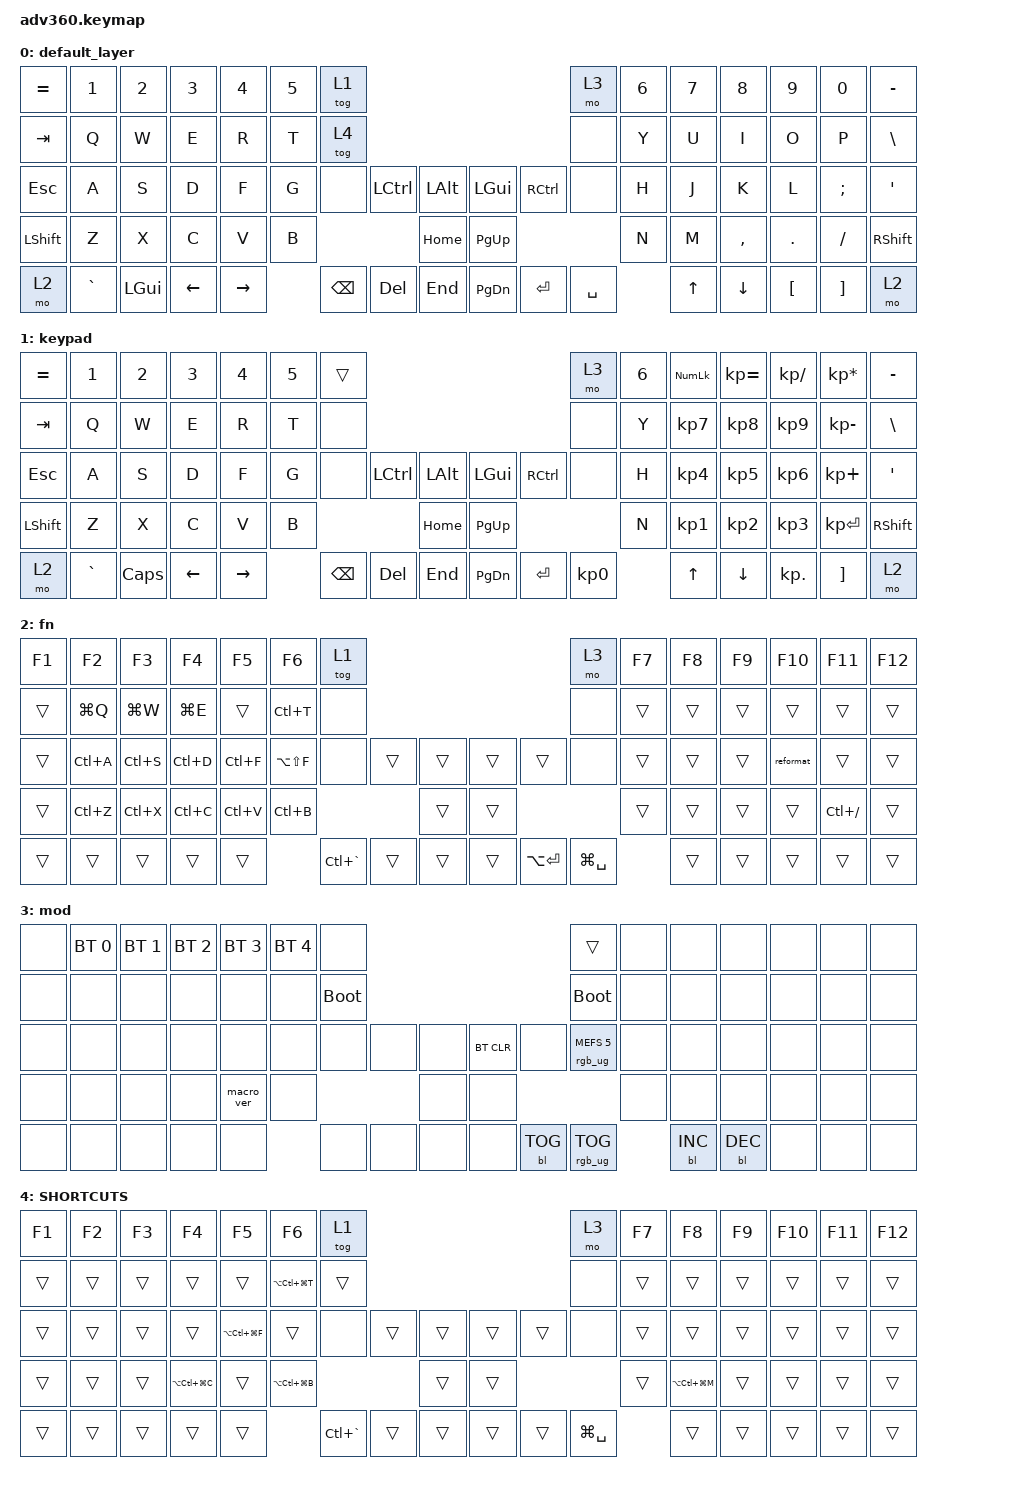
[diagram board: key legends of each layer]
#include <behaviors.dtsi>
#include <dt-bindings/zmk/backlight.h>
#include <dt-bindings/zmk/bt.h>
#include <dt-bindings/zmk/keys.h>
#include <dt-bindings/zmk/rgb.h>

/ {
    behaviors {
        #include "macros.dtsi"
      #include "version.dtsi"
      #ifndef VERSION_MACRO
      #endif

        hm: homerow_mods {
            compatible = "zmk,behavior-hold-tap";
            label = "HOMEROW_MODS";
            #binding-cells = <2>;
            tapping-term-ms = <200>;
            quick_tap_ms = <175>;
            flavor = "tap-preferred";
            bindings = <&kp>, <&kp>;
        };
    };

    combos { compatible = "zmk,combos"; };

    macros {
        testing_number1: new_macro {
            compatible = "zmk,behavior-macro";
            #binding-cells = <0>;
            bindings = <&kp LG(LC(LA(N1)))>, <&macro_wait_time 500>, <&tog 2>;

            label = "NEW_MACRO";
        };

        reformat: reformat {
            compatible = "zmk,behavior-macro";
            #binding-cells = <0>;
            bindings = <&kp LS(LA(L))>, <&macro_wait_time 500>, <&kp LC(LA(L))>;

            label = "REFORMAT";
        };
    };

    keymap {
        compatible = "zmk,keymap";

        default_layer {
            bindings = <
&kp EQUAL  &kp N1     &kp N2    &kp N3    &kp N4     &kp N5  &tog 1                                                   &mo 3      &kp N6  &kp N7  &kp N8     &kp N9    &kp N0    &kp MINUS
&kp TAB    &kp Q      &kp W     &kp E     &kp R      &kp T   &tog 4                                                   &none      &kp Y   &kp U   &kp I      &kp O     &kp P     &kp BSLH
&kp ESC    &kp A      &kp S     &kp D     &kp F      &kp G   &none     &kp LCTRL  &kp LALT      &kp LGUI   &kp RCTRL  &none      &kp H   &kp J   &kp K      &kp L     &kp SEMI  &kp SQT
&kp LSHFT  &kp Z      &kp X     &kp C     &kp V      &kp B                        &kp HOME      &kp PG_UP                        &kp N   &kp M   &kp COMMA  &kp DOT   &kp FSLH  &kp RSHFT
&mo 2      &kp GRAVE  &kp LGUI  &kp LEFT  &kp RIGHT          &kp BSPC  &kp DEL    &kp END       &kp PG_DN  &kp ENTER  &kp SPACE          &kp UP  &kp DOWN   &kp LBKT  &kp RBKT  &mo 2
            >;
        };

        keypad {
            bindings = <
&kp EQUAL  &kp N1     &kp N2    &kp N3    &kp N4     &kp N5  &trans                                                   &mo 3      &kp N6  &kp KP_NUM  &kp KP_EQUAL  &kp KP_DIVIDE  &kp KP_MULTIPLY  &kp MINUS
&kp TAB    &kp Q      &kp W     &kp E     &kp R      &kp T   &none                                                    &none      &kp Y   &kp KP_N7   &kp KP_N8     &kp KP_N9      &kp KP_MINUS     &kp BSLH
&kp ESC    &kp A      &kp S     &kp D     &kp F      &kp G   &none     &kp LCTRL  &kp LALT      &kp LGUI   &kp RCTRL  &none      &kp H   &kp KP_N4   &kp KP_N5     &kp KP_N6      &kp KP_PLUS      &kp SQT
&kp LSHFT  &kp Z      &kp X     &kp C     &kp V      &kp B                        &kp HOME      &kp PG_UP                        &kp N   &kp KP_N1   &kp KP_N2     &kp KP_N3      &kp KP_ENTER     &kp RSHFT
&mo 2      &kp GRAVE  &kp CAPS  &kp LEFT  &kp RIGHT          &kp BSPC  &kp DEL    &kp END       &kp PG_DN  &kp ENTER  &kp KP_N0          &kp UP      &kp DOWN      &kp KP_DOT     &kp RBKT         &mo 2
            >;
        };

        fn {
            bindings = <
&kp F1  &kp F2     &kp F3     &kp F4     &kp F5     &kp F6         &tog 1                                                    &mo 3          &kp F7  &kp F8  &kp F9  &kp F10    &kp F11        &kp F12
&trans  &kp LG(Q)  &kp LG(W)  &kp LG(E)  &trans     &kp LC(T)      &none                                                     &none          &trans  &trans  &trans  &trans     &trans         &trans
&trans  &kp LC(A)  &kp LC(S)  &kp LC(D)  &kp LC(F)  &kp LA(LS(F))  &none          &trans  &trans      &trans  &trans         &none          &trans  &trans  &trans  &reformat  &trans         &trans
&trans  &kp LC(Z)  &kp LC(X)  &kp LC(C)  &kp LC(V)  &kp LC(B)                             &trans      &trans                                &trans  &trans  &trans  &trans     &kp LC(SLASH)  &trans
&trans  &trans     &trans     &trans     &trans                    &kp LC(GRAVE)  &trans  &trans      &trans  &kp LA(ENTER)  &kp LG(SPACE)          &trans  &trans  &trans     &trans         &trans
            >;
        };

        mod {
            bindings = <
&none  &bt BT_SEL 0  &bt BT_SEL 1  &bt BT_SEL 2  &bt BT_SEL 3  &bt BT_SEL 4  &none                                                  &trans                  &none  &none       &none       &none  &none  &none
&none  &none         &none         &none         &none         &none         &bootloader                                            &bootloader             &none  &none       &none       &none  &none  &none
&none  &none         &none         &none         &none         &none         &none        &none  &none      &bt BT_CLR  &none       &rgb_ug RGB_MEFS_CMD 5  &none  &none       &none       &none  &none  &none
&none  &none         &none         &none         &macro_ver    &none                             &none      &none                                           &none  &none       &none       &none  &none  &none
&none  &none         &none         &none         &none                       &none        &none  &none      &none       &bl BL_TOG  &rgb_ug RGB_TOG                &bl BL_INC  &bl BL_DEC  &none  &none  &none
            >;
        };

        SHORTCUTS {
            bindings = <
&kp F1  &kp F2  &kp F3  &kp F4             &kp F5             &kp F6             &tog 1                                             &mo 3          &kp F7  &kp F8             &kp F9  &kp F10  &kp F11  &kp F12
&trans  &trans  &trans  &trans             &trans             &kp LA(LC(LG(T)))  &trans                                             &none          &trans  &trans             &trans  &trans   &trans   &trans
&trans  &trans  &trans  &trans             &kp LA(LC(LG(F)))  &trans             &none          &trans  &trans      &trans  &trans  &none          &trans  &trans             &trans  &trans   &trans   &trans
&trans  &trans  &trans  &kp LA(LC(LG(C)))  &trans             &kp LA(LC(LG(B)))                         &trans      &trans                         &trans  &kp LA(LC(LG(M)))  &trans  &trans   &trans   &trans
&trans  &trans  &trans  &trans             &trans                                &kp LC(GRAVE)  &trans  &trans      &trans  &trans  &kp LG(SPACE)          &trans             &trans  &trans   &trans   &trans
            >;
        };
    };
};
